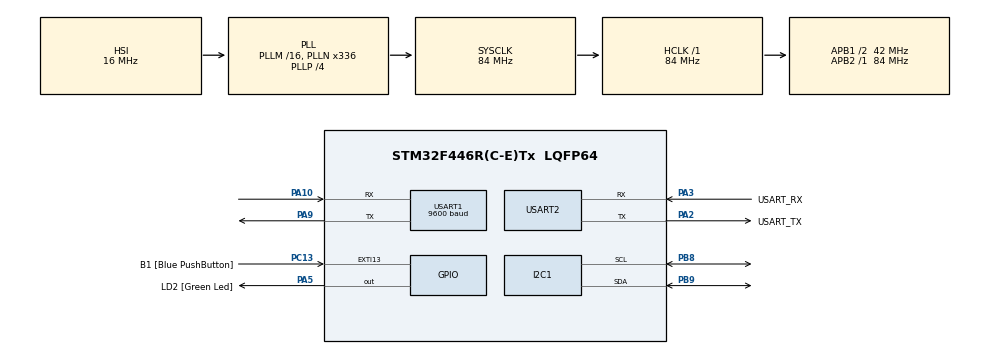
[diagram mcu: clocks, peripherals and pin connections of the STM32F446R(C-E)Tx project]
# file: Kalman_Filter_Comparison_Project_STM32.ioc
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I2C1.I2C_Mode=I2C_Standard
Mcu.Family=STM32F4
Mcu.Name=STM32F446R(C-E)Tx
Mcu.Package=LQFP64
NVIC.PriorityGroup=NVIC_PRIORITYGROUP_0
NVIC.USART1_IRQn=true\:0\:0\:false\:false\:true\:true\:true\:true
PA10.Mode=Asynchronous
PA10.Signal=USART1_RX
PA13.GPIO_Label=TMS
PA13.Mode=Serial_Wire
PA13.Signal=SYS_JTMS-SWDIO
PA14.GPIO_Label=TCK
PA14.Mode=Serial_Wire
PA14.Signal=SYS_JTCK-SWCLK
PA2.GPIO_Label=USART_TX
PA2.Mode=Asynchronous
PA2.Signal=USART2_TX
PA3.GPIO_Label=USART_RX
PA3.Mode=Asynchronous
PA3.Signal=USART2_RX
PA5.GPIO_Label=LD2 [Green Led]
PA5.Signal=GPIO_Output
PA9.Mode=Asynchronous
PA9.Signal=USART1_TX
PB3.GPIO_Label=SWO
PB3.Signal=SYS_JTDO-SWO
PB8.Mode=I2C
PB8.Signal=I2C1_SCL
PB9.Mode=I2C
PB9.Signal=I2C1_SDA
PC13.GPIO_Label=B1 [Blue PushButton]
PC13.GPIO_ModeDefaultEXTI=GPIO_MODE_IT_FALLING
PC13.Signal=GPXTI13
PC14-OSC32_IN.Mode=LSE-External-Oscillator
PC14-OSC32_IN.Signal=RCC_OSC32_IN
PC15-OSC32_OUT.Mode=LSE-External-Oscillator
PC15-OSC32_OUT.Signal=RCC_OSC32_OUT
PH0-OSC_IN.Mode=HSE-External-Oscillator
PH0-OSC_IN.Signal=RCC_OSC_IN
PH1-OSC_OUT.Mode=HSE-External-Oscillator
PH1-OSC_OUT.Signal=RCC_OSC_OUT
ProjectManager.HeapSize=0x200
ProjectManager.StackSize=0x400
ProjectManager.TargetToolchain=CMake
RCC.48MHZClocksFreq_Value=84000000
RCC.AHBFreq_Value=84000000
RCC.APB1CLKDivider=RCC_HCLK_DIV2
RCC.APB1Freq_Value=42000000
RCC.APB1TimFreq_Value=84000000
RCC.APB2Freq_Value=84000000
RCC.APB2TimFreq_Value=84000000
RCC.CortexFreq_Value=84000000
RCC.FLatency-AdvancedSettings=FLASH_LATENCY_2
RCC.HCLKFreq_Value=84000000
RCC.HSE_VALUE=8000000
RCC.HSI_VALUE=16000000
RCC.PLLN=336
RCC.PLLP=RCC_PLLP_DIV4
RCC.SYSCLKFreq_VALUE=84000000
RCC.SYSCLKSource=RCC_SYSCLKSOURCE_PLLCLK
RCC.USBFreq_Value=168000000
RCC.VCOOutputFreq_Value=336000000
USART1.BaudRate=9600
USART1.VirtualMode=VM_ASYNC
USART2.VirtualMode=VM_ASYNC
board=NUCLEO-F446RE

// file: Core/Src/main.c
/* USER CODE BEGIN Header */
/**
  ******************************************************************************
  * @file           : main.c
  * @brief          : Main program body
  ******************************************************************************
  * @attention
  *
  * Copyright (c) 2025 STMicroelectronics.
  * All rights reserved.
  *
  * This software is licensed under terms that can be found in the LICENSE file
  * in the root directory of this software component.
  * If no LICENSE file comes with this software, it is provided AS-IS.
  *
  ******************************************************************************
  */

#define G       9.8123
#define UKF_1

/* USER CODE END Header */
#include "main.h"
#include "i2c.h"
#include "usart.h"
#include "gpio.h"

/* USER CODE BEGIN Includes */

#ifdef KF_1
#include "kf_1.h"
#endif

#ifdef EKF_1
#include "ekf_1.h"
#endif

#ifdef EKF_2
#include "ekf_2.h"
#endif

#ifdef UKF_1
#include "ukf_1.h"
#endif

#include "data_gps.h"
#include "data_imu.h"
#include <string.h>
#include <stdio.h>
#include <math.h>
#include <stdlib.h>
/* USER CODE END Includes */

void SystemClock_Config(void);

/* USER CODE BEGIN 0 */

void UART2_SendString(char* s)
{
 HAL_UART_Transmit(&huart2, (uint8_t*)s, strlen(s), 1000);
}

/* USER CODE END 0 */

int main(void)
{

  /* MCU Configuration--------------------------------------------------------*/

  /* Reset of all peripherals, Initializes the Flash interface and the Systick. */
  HAL_Init();

  /* Configure the system clock */
  SystemClock_Config();

  /* Initialize all configured peripherals */
  MX_GPIO_Init();
  MX_USART2_UART_Init();
  MX_I2C1_Init();
  MX_USART1_UART_Init();

  /* Infinite loop */
  /* USER CODE BEGIN WHILE */
  #ifdef KF_1
  run_kf_1();
  #endif

  #ifdef EKF_1
  run_ekf_1();
  #endif

  #ifdef EKF_2
  run_ekf_2();
  #endif

  #ifdef UKF_1
  run_ukf_1();
  #endif
  while (1)
  {
    /* USER CODE END WHILE */

  }
}

void SystemClock_Config(void)
{
  RCC_OscInitTypeDef RCC_OscInitStruct = {0};
  RCC_ClkInitTypeDef RCC_ClkInitStruct = {0};

  /** Configure the main internal regulator output voltage
  */
  __HAL_RCC_PWR_CLK_ENABLE();
  __HAL_PWR_VOLTAGESCALING_CONFIG(PWR_REGULATOR_VOLTAGE_SCALE3);

  /** Initializes the RCC Oscillators according to the specified parameters
  * in the RCC_OscInitTypeDef structure.
  */
  RCC_OscInitStruct.OscillatorType = RCC_OSCILLATORTYPE_HSI;
  RCC_OscInitStruct.HSIState = RCC_HSI_ON;
  RCC_OscInitStruct.HSICalibrationValue = RCC_HSICALIBRATION_DEFAULT;
  RCC_OscInitStruct.PLL.PLLState = RCC_PLL_ON;
  RCC_OscInitStruct.PLL.PLLSource = RCC_PLLSOURCE_HSI;
  RCC_OscInitStruct.PLL.PLLM = 16;
  RCC_OscInitStruct.PLL.PLLN = 336;
  RCC_OscInitStruct.PLL.PLLP = RCC_PLLP_DIV4;
  RCC_OscInitStruct.PLL.PLLQ = 2;
  RCC_OscInitStruct.PLL.PLLR = 2;
  if (HAL_RCC_OscConfig(&RCC_OscInitStruct) != HAL_OK)
  {
    Error_Handler();
  }

  /** Initializes the CPU, AHB and APB buses clocks
  */
  RCC_ClkInitStruct.ClockType = RCC_CLOCKTYPE_HCLK|RCC_CLOCKTYPE_SYSCLK
                              |RCC_CLOCKTYPE_PCLK1|RCC_CLOCKTYPE_PCLK2;
  RCC_ClkInitStruct.SYSCLKSource = RCC_SYSCLKSOURCE_PLLCLK;
  RCC_ClkInitStruct.AHBCLKDivider = RCC_SYSCLK_DIV1;
  RCC_ClkInitStruct.APB1CLKDivider = RCC_HCLK_DIV2;
  RCC_ClkInitStruct.APB2CLKDivider = RCC_HCLK_DIV1;

  if (HAL_RCC_ClockConfig(&RCC_ClkInitStruct, FLASH_LATENCY_2) != HAL_OK)
  {
    Error_Handler();
  }
}

void Error_Handler(void)
{
  __disable_irq();
  while (1)
  {
  }
}
